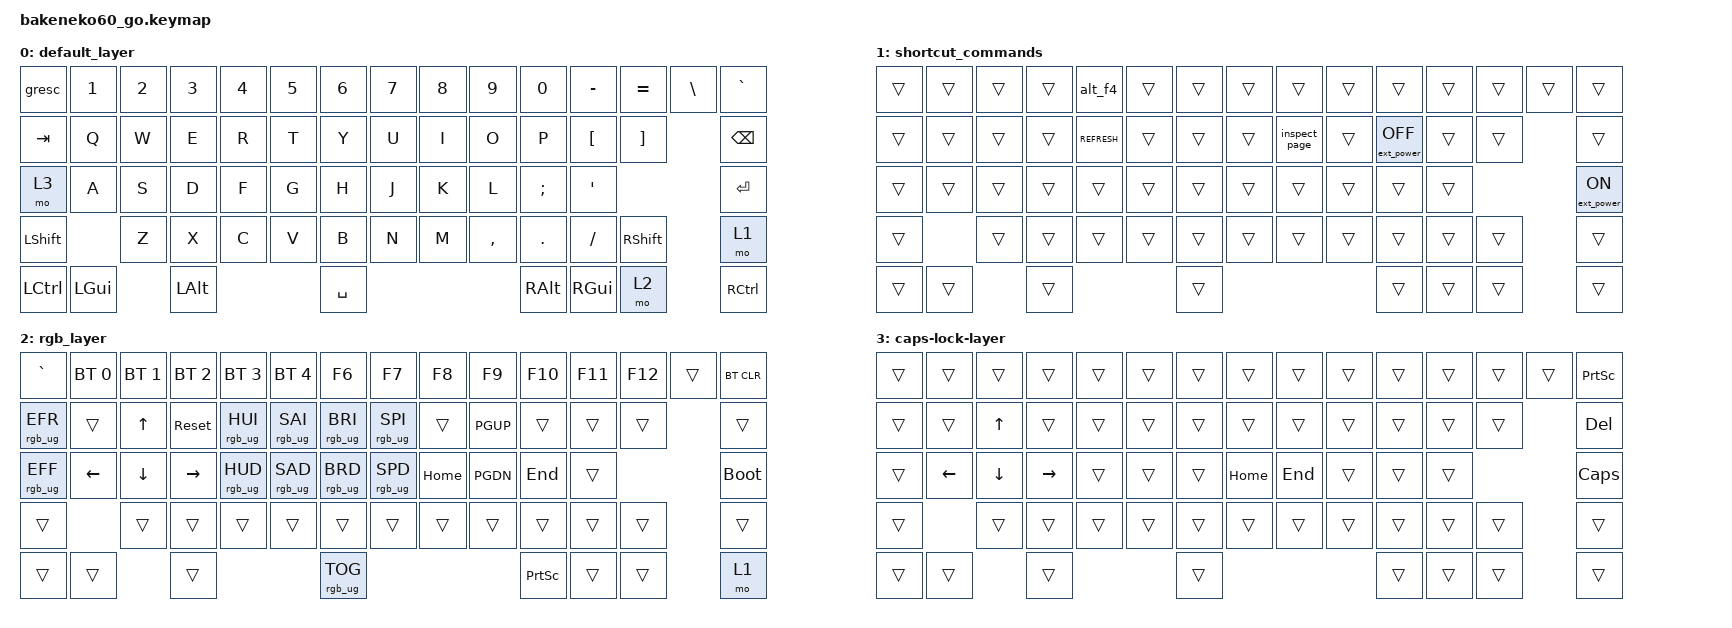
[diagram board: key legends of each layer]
/*
 * Copyright (c) 2023 Andrew Kannan
 *
 * SPDX-License-Identifier: MIT
 */

#include <behaviors.dtsi>
#include <dt-bindings/zmk/bt.h>
#include <dt-bindings/zmk/ext_power.h>
#include <dt-bindings/zmk/keys.h>
#include <dt-bindings/zmk/rgb.h>

/ {
    macros {
        alt_f4: alt_f4 {
            compatible = "zmk,behavior-macro";
            #binding-cells = <0>;
            bindings = <&kp LEFT_ALT &kp F4>;
            label = "ALT_F4";
        };

        inspect_page: inspect_page {
            compatible = "zmk,behavior-macro";
            #binding-cells = <0>;
            bindings = <&kp LEFT_CONTROL &kp LEFT_SHIFT &kp I>;
            label = "INSPECT_PAGE";
        };
    };

    keymap {
        compatible = "zmk,keymap";

        default_layer {
            // ------------------------------------------------------------------------------------------
            // | ESC |  1  |  2  |  3  |  4  |  5  |  6  |  7  |  8  |  9  |  0  |  -  |  =  | BKSP|BKSP|
            // | TAB  |  Q  |  W  |  E  |  R  |  T  |  Y  |  U  |  I  |  O  |  P  |  [  |  ]  |   "|"   |
            // | CAPS  |  A  |  S  |  D  |  F  |  G  |  H  |  J  |  K  |  L  |  ;  |  '  |     ENTER    |
            // |  SHIFT  |  Z  |  X  |  C  |  V  |  B  |  N  |  M  |  ,  |  .  |  /  |  SHIFT  | MO(1)  |
            // |  CTL  |  WIN  |  ALT  |            SPACE              |  ALT  |  WIN  |  MO(1) |  CTL  |
            // ------------------------------------------------------------------------------------------

            bindings = <
&gresc     &kp N1    &kp N2  &kp N3    &kp N4  &kp N5  &kp N6     &kp N7  &kp N8  &kp N9     &kp N0    &kp MINUS  &kp EQUAL  &kp BSLH  &kp GRAVE
&kp TAB    &kp Q     &kp W   &kp E     &kp R   &kp T   &kp Y      &kp U   &kp I   &kp O      &kp P     &kp LBKT   &kp RBKT             &kp BACKSPACE
&mo 3      &kp A     &kp S   &kp D     &kp F   &kp G   &kp H      &kp J   &kp K   &kp L      &kp SEMI  &kp SQT                         &kp RET
&kp LSHFT            &kp Z   &kp X     &kp C   &kp V   &kp B      &kp N   &kp M   &kp COMMA  &kp DOT   &kp FSLH   &kp RSHFT            &mo 1
&kp LCTRL  &kp LGUI          &kp LALT                  &kp SPACE                             &kp RALT  &kp RGUI   &mo 2                &kp RCTRL
            >;
        };

        shortcut_commands {
            // ------------------------------------------------------------------------------------------------
            // | BT CLR |     |     |     |     |     |     |     |     |     |     |    |    |       |       |
            // |  BT 1   |   |     |   |       |       |       |       |   |     |    |     |     |           |
            // |   BT 2   |    |      |    |       |       |       |       |      |      |      |  |   Reset  |
            // |    BT 3     |     |      |      |     |     |     |     |     |     |     |         |        |
            // |   BT 4  |      |      |                                    |         |       |       |       |
            // ------------------------------------------------------------------------------------------------

            bindings = <
&trans  &trans  &trans  &trans  &alt_f4        &trans  &trans  &trans  &trans         &trans  &trans             &trans  &trans  &trans  &trans
&trans  &trans  &trans  &trans  &kp K_REFRESH  &trans  &trans  &trans  &inspect_page  &trans  &ext_power EP_OFF  &trans  &trans          &trans
&trans  &trans  &trans  &trans  &trans         &trans  &trans  &trans  &trans         &trans  &trans             &trans                  &ext_power EP_ON
&trans          &trans  &trans  &trans         &trans  &trans  &trans  &trans         &trans  &trans             &trans  &trans          &trans
&trans  &trans          &trans                         &trans                                 &trans             &trans  &trans          &trans
            >;
        };

        rgb_layer {
            // ------------------------------------------------------------------------------------------------
            // |    `   | F1  | F2  | F3  | F4  | F5  | F6  | F7  | F8  | F9  | F10  | F11 | F12 |     | DEL  |
            // | EFCT REV|   |  UP |   | HUEUP | SATUP | BRIUP | SPDUP |      |  PGUP |    |     |    |       |
            // | EFCT FWD | LT |  DN  | RT | HUEDN | SATDN | BRIDN | SPDDN | HOME | PGDN | END  |  | BOOTLDR  |
            // |             |     |      |      |     |     |     |     |     |     |     |         |        |
            // |         |      |      |             TOG RGB                | PRT SCR |       |       |  MO(2)|
            // ------------------------------------------------------------------------------------------------

            bindings = <
&kp GRAVE        &bt BT_SEL 0  &bt BT_SEL 1  &bt BT_SEL 2  &bt BT_SEL 3     &bt BT_SEL 4     &kp F6           &kp F7           &kp F8    &kp F9    &kp F10    &kp F11  &kp F12  &trans  &bt BT_CLR
&rgb_ug RGB_EFR  &trans        &kp UP        &sys_reset    &rgb_ug RGB_HUI  &rgb_ug RGB_SAI  &rgb_ug RGB_BRI  &rgb_ug RGB_SPI  &trans    &kp PGUP  &trans     &trans   &trans           &trans
&rgb_ug RGB_EFF  &kp LEFT      &kp DOWN      &kp RIGHT     &rgb_ug RGB_HUD  &rgb_ug RGB_SAD  &rgb_ug RGB_BRD  &rgb_ug RGB_SPD  &kp HOME  &kp PGDN  &kp END    &trans                    &bootloader
&trans                         &trans        &trans        &trans           &trans           &trans           &trans           &trans    &trans    &trans     &trans   &trans           &trans
&trans           &trans                      &trans                                          &rgb_ug RGB_TOG                                       &kp PSCRN  &trans   &trans           &mo 1
            >;
        };

        caps-lock-layer {
            bindings = <
&trans  &trans    &trans          &trans           &trans  &trans  &trans  &trans    &trans   &trans  &trans  &trans  &trans  &trans  &kp PRINTSCREEN
&trans  &trans    &kp UP_ARROW    &trans           &trans  &trans  &trans  &trans    &trans   &trans  &trans  &trans  &trans          &kp DELETE
&trans  &kp LEFT  &kp DOWN_ARROW  &kp RIGHT_ARROW  &trans  &trans  &trans  &kp HOME  &kp END  &trans  &trans  &trans                  &kp CLCK
&trans            &trans          &trans           &trans  &trans  &trans  &trans    &trans   &trans  &trans  &trans  &trans          &trans
&trans  &trans                    &trans                           &trans                             &trans  &trans  &trans          &trans
            >;
        };
    };

    combos {
        compatible = "zmk,combos";

        alt+f4 {
            timeout-ms = <50>;
            key-positions = <4 0 1 2 3 4 5 6 7 8 9 10 11 15 16 17 18 19 20 21 22 23 24 25 29 30 31 32 33 34 35 36 37 38 39 42 43 44 45 46 47 48 49 50 51 55 56 57 59 0 1 2 3 4 5 6 7 8 9 10 11 12 13 14 15 16 17 18 19 20 21 22 23 24 25 26 27 28 29 30 31 32 33 34 35 36 37 38 39 40 41 42 43 44 45 46 47 48 49 50 51 52 53 54 55 56 57 59 60 61 62 0 1 2 3 4 5 6 7 8 9 10 11 12 13 14 15 16 17 18 19 20 21 22 23 24 25 26 27 28 29 30 31 32 33 34 35 36 37 38 39 40 41 42 43 44 45 46 47 48 49 50 51 52 53 54 55 56 57 58 59 60 61 62>;
            bindings = <&kp LEFT_ALT>;
            layers = <1>;
        };
    };
};
